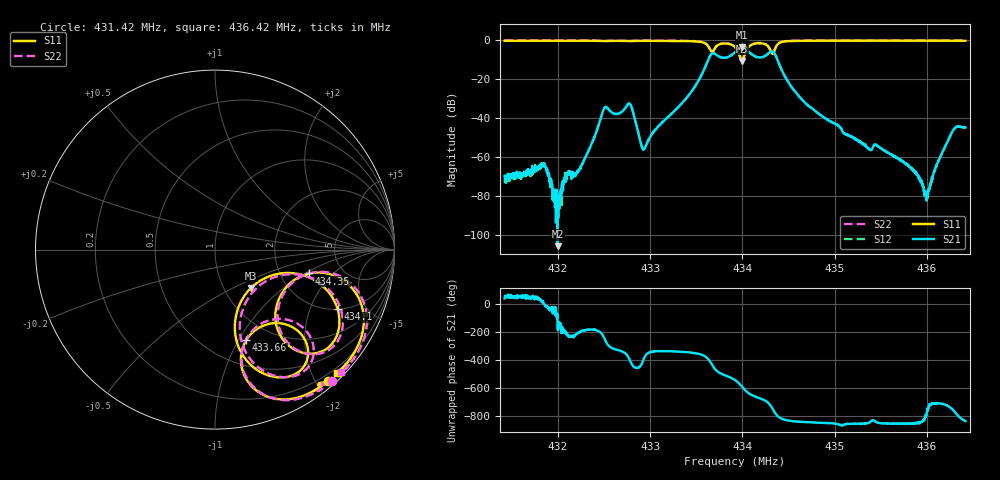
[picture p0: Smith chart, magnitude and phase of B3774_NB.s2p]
! Matrix data file written by TouchstoneData, EPCOS AG
! FILENAME: "newformat_B3774_SB.s2p"
! COMMENT: "(B3774_SB.s2p)"
! INFO: nport=2, nfreq=1601
! DATE: "Fri Sep 21 11:09:01 2012"
! USER: "Wilfried Schott"
! port | pin | signal
!  1  |  2  |  IN
!  2  |  5  |  OUT
# MHZ S MA R 50
! freq  magS11 angS11  magS21 angS21  magS12 angS12  magS22 angS22
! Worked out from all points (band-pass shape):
!   1601 points, 431.42 MHz to 436.42 MHz, reference 50 ohm
!   highest |S21| = -3.74 dB at 434 MHz (marker M1); lowest = -105.8 dB at 432 MHz (marker M2)
!   |S21| within 3 dB of the highest: 433.9068 MHz to 434.0887 MHz (181.9 kHz wide, 0.0419 % of centre); 434.283 MHz to 434.3487 MHz (65.72 kHz wide, 0.0151 % of centre) (the widest 2 of 3)
!   lowest |S11| = -10.7 dB at 434 MHz (marker M3), VSWR 1.83, Z = 66.7 - j31.2 ohm
!   |S11| at or under -10 dB: 433.9847 MHz to 434.006 MHz (21.3 kHz wide, 0.00491 % of centre)
!   |S22| runs from -10.0 to -0.1 dB; largest |S21 - S12| = 0.0012
!   S11 on the Smith chart (normalised r, x): 431.42 MHz: 0.10, -2.17; 433.66 MHz: 0.76, -1.08; 434.1 MHz: 2.01, -3.16; 434.35 MHz: 2.91, -1.10; 436.42 MHz: 0.11, -2.39
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431.42  0.9663 -49.4  0.0003265 39.2  0.0002181 49.9  0.9833 -48.3
431.8356  0.9671 -50.1  0.0005686 21.7  0.0006864 19.6  0.9818 -48.9
431.995  0.9672 -50.3  5.114e-06 -167.3  5.606e-05 -61.1  0.9816 -49.2
432.2544  0.9662 -51.0  0.0006048 169.4  0.0006128 166.9  0.981 -49.8
432.5138  0.9485 -51.3  0.01939 99.8  0.01936 99.8  0.9619 -50.1
432.7794  0.9445 -52.2  0.02344 -40.4  0.02337 -40.2  0.9556 -51.1
432.9263  0.9633 -52.8  0.001559 -38.1  0.001585 -37.4  0.9773 -51.7
433.0888  0.9625 -54.2  0.006144 24.0  0.00612 23.5  0.9761 -53.1
433.5606  0.8912 -68.5  0.1333 -1.3  0.1333 -1.4  0.8996 -67.8
433.6575  0.5344 -71.1  0.4236 -57.5  0.4235 -57.5  0.5217 -70.0
433.7481  0.781 -48.4  0.3792 -128.3  0.3794 -128.4  0.7925 -46.0
433.92  0.6636 -73.2  0.4907 179.2  0.4908 179.2  0.6779 -70.8
433.995  0.2928 -46.8  0.6494 132.6  0.6502 132.6  0.3153 -45.4
433.9981  0.2945 -41.9  0.6501 130.2  0.6505 130.1  0.3166 -40.9
434.0981  0.7598 -25.9  0.4417 73.6  0.4422 73.5  0.7757 -25.3
434.2544  0.7718 -48.6  0.4053 30.0  0.4056 29.9  0.7884 -47.6
434.3481  0.5422 -14.2  0.4629 -47.7  0.4637 -47.6  0.5467 -13.9
434.7544  0.9674 -38.3  0.01793 -121.8  0.01781 -121.8  0.9814 -37.2
435.5888  0.9707 -43.7  0.001262 -129.6  0.001258 -131.4  0.9848 -42.6
435.9981  0.9702 -44.7  7.57e-05 -70.2  9.002e-05 -63.7  0.9842 -43.6
436.2731  0.9663 -45.4  0.004256 -24.9  0.004292 -26.6  0.9801 -44.2
436.42  0.9667 -45.4  0.005711 -112.4  0.005622 -112.5  0.9813 -44.2
